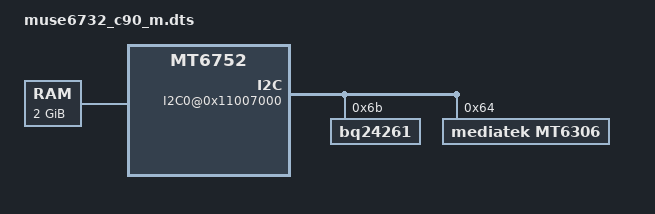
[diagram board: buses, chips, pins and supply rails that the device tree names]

/dts-v1/;

/include/ "mt6752.dtsi"

/ {
	memory@00000000 {
		device_type = "memory";
		reg = <0 0x40000000 0 0x80000000>;
	};

	cpus {
		#address-cells = <1>;
		#size-cells = <0>;

		cpu0: cpu@0 {
			device_type = "cpu";
			compatible = "arm,cortex-a53";
			reg = <0x000>;
			enable-method = "spin-table";
			cpu-release-addr = <0x0 0x40000200>;
			clock-frequency = <1500000000>;
		};

		cpu1: cpu@1 {
			device_type = "cpu";
			compatible = "arm,cortex-a53";
			reg = <0x001>;
			enable-method = "spin-table";
			cpu-release-addr = <0x0 0x40000200>;
			clock-frequency = <1500000000>;
		};

		cpu2: cpu@2 {
			device_type = "cpu";
			compatible = "arm,cortex-a53";
			reg = <0x002>;
			enable-method = "spin-table";
			cpu-release-addr = <0x0 0x40000200>;
			clock-frequency = <1500000000>;
		};

		cpu3: cpu@3 {
			device_type = "cpu";
			compatible = "arm,cortex-a53";
			reg = <0x003>;
			enable-method = "spin-table";
			cpu-release-addr = <0x0 0x40000200>;
			clock-frequency = <1500000000>;
		};

		/* reserve cpu4~7 since we cannot reduce cpu core numbers */
		cpu4: cpu@4 {
			device_type = "cpu";
			compatible = "arm,cortex-a53";
			reg = <0x100>;
			enable-method = "spin-table";
			cpu-release-addr = <0x0 0x40000200>;
			clock-frequency = <1500000000>;
		};

		cpu5: cpu@5 {
			device_type = "cpu";
			compatible = "arm,cortex-a53";
			reg = <0x101>;
			enable-method = "spin-table";
			cpu-release-addr = <0x0 0x40000200>;
			clock-frequency = <1500000000>;
		};

		cpu6: cpu@6 {
			device_type = "cpu";
			compatible = "arm,cortex-a53";
			reg = <0x102>;
			enable-method = "spin-table";
			cpu-release-addr = <0x0 0x40000200>;
			clock-frequency = <1500000000>;
		};

		cpu7: cpu@7 {
			device_type = "cpu";
			compatible = "arm,cortex-a53";
			reg = <0x103>;
			enable-method = "spin-table";
			cpu-release-addr = <0x0 0x40000200>;
			clock-frequency = <1500000000>;
		};
	};

	bus {
		compatible = "simple-bus";
		#address-cells = <1>;
		#size-cells = <1>;
		ranges = <0 0 0 0xffffffff>;

		I2C0@0x11007000 {
			bq24261@6b {
				compatible = "bq24261";
				reg = <0x6b>;
			};

			mt6306@64 {
				compatible = "mediatek,mt6306";
				reg = <0x64>;
			};
		};
		
		MALI@0x13040000 {
			compatible = "arm,malit760", "arm,mali-t76x", "arm,malit7xx", "arm,mali-midgard";
			reg = <0x13040000 0x4000>;
			interrupts = <0 227 0x8>, <0 226 0x8>, <0 225 0x8>;
			interrupt-names = "JOB", "MMU", "GPU";
			clock-frequency = <500000000>;
		};
	};
    TOUCH@0 {
    	compatible = "mediatek,TPD";
		eint-gpio = <139 1>;
		rst-gpio = <144 1>;
		interrupts = <139 2>;
	};
  /*  start sensor */
		cust_accel@0 {
		compatible 				= "mediatek,MC3410";
		i2c_num 				= <2>;
		i2c_addr				= <0x4c 0 0 0>;
		direction 				= <0>;
		power_id 				= <0xffff>;
		power_vol				= <0>;
		firlen 					= <0>;
		is_batch_supported  			= <0>;
  		};
  
		cust_alsps@0 {
		compatible 				= "mediatek,CM36652";
		i2c_num 				= <1>;
		i2c_addr 				= <0x60 0 0 0>;
		polling_mode_ps			= <0>;
		polling_mode_als		= <1>;
		power_id   				= <0xffff>;
		power_vol  				= <0>; 
/* Total has 15 level*/
		als_level  				= <0 471 1058 1703 3883 10171 10443 15445 28499 35153 41421 59194 65535 65535 65535>;
/*  Total has 16 range*/
		als_value  				= <0 133 303 501 1002 2001 3355 5001 8008 10010 12000 16010 20010 20010 20010 20010>;
		ps_threshold_high		=  <32>;
		ps_threshold_low		=  <22>;
		is_batch_supported_ps	= <1>;
		is_batch_supported_als	= <1>;
		};
		
  		cust_mag@0 {
		compatible				= "mediatek,AKM09911";
		i2c_num 				= <2>;
		i2c_addr				= <0x0D 0 0 0>;
		direction 				= <1>;
		power_id 				= <0xffff>;
		power_vol				= <0>;
		is_batch_supported  	= <0>;
  		};
		
  		cust_gyro@0 {
		compatible 				= "mediatek,ITG1010";
		i2c_num 				= <2>;
		i2c_addr				= <0x68 0 0 0>;
		direction 				= <3>;
		power_id 				= <0xffff>;
		power_vol				= <0>;
		firlen 					= <0>;
		is_batch_supported  	= <0>;
  		};


  /* end sensor */
};
